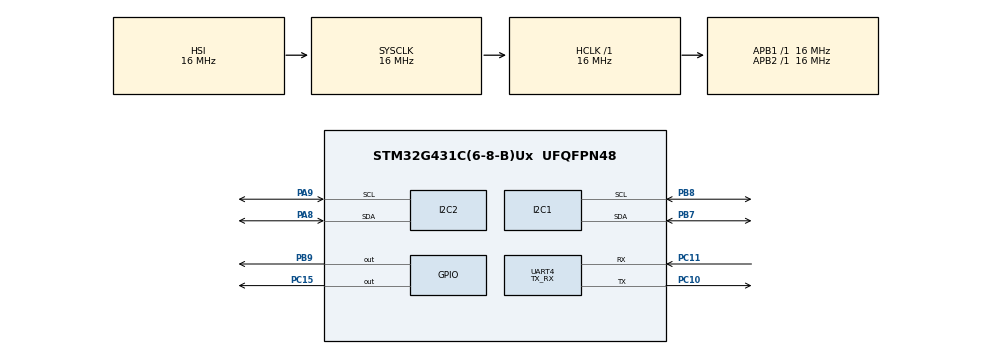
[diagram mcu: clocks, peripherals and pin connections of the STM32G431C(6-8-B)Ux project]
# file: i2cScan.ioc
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I2C1.Timing=0x00503D58
I2C2.Timing=0x00503D58
Mcu.Family=STM32G4
Mcu.Name=STM32G431C(6-8-B)Ux
Mcu.Package=UFQFPN48
NVIC.PriorityGroup=NVIC_PRIORITYGROUP_4
PA8.Mode=I2C
PA8.Signal=I2C2_SDA
PA9.Mode=I2C
PA9.Signal=I2C2_SCL
PB7.Mode=I2C
PB7.Signal=I2C1_SDA
PB8-BOOT0.Mode=I2C
PB8-BOOT0.Signal=I2C1_SCL
PB9.Signal=GPIO_Output
PC10.Mode=Asynchronous
PC10.Signal=UART4_TX
PC11.Mode=Asynchronous
PC11.Signal=UART4_RX
PC15-OSC32_OUT.PinState=GPIO_PIN_SET
PC15-OSC32_OUT.Signal=GPIO_Output
ProjectManager.HeapSize=0x200
ProjectManager.StackSize=0x400
ProjectManager.TargetToolchain=STM32CubeIDE
RCC.AHBFreq_Value=16000000
RCC.APB1Freq_Value=16000000
RCC.APB1TimFreq_Value=16000000
RCC.APB2Freq_Value=16000000
RCC.APB2TimFreq_Value=16000000
RCC.CortexFreq_Value=16000000
RCC.EXTERNAL_CLOCK_VALUE=12288000
RCC.HCLKFreq_Value=16000000
RCC.HSE_VALUE=8000000
RCC.HSI48_VALUE=48000000
RCC.HSI_VALUE=16000000
RCC.LSE_VALUE=32768
RCC.SYSCLKFreq_VALUE=16000000
RCC.USBFreq_Value=64000000
RCC.VCOOutputFreq_Value=128000000
STMicroelectronics.I-CUBE-STDIO.1.5.0.STDIOCcCompilerJjIOoOJjSTDIN=USART
STMicroelectronics.I-CUBE-STDIO.1.5.0.STDIOCcCompilerJjIOoOJjSTDOUT=USART
UART4.Mode=MODE_TX_RX
VP_STMicroelectronics.I-CUBE-STDIO_VS_CompilerJjSTDIO_1.0.0_1.5.0.Mode=CompilerJjSTDIO
VP_SYS_VS_DBSignals.Mode=DisableDeadBatterySignals
board=custom

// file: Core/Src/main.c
/* USER CODE BEGIN Header */
/**
  ******************************************************************************
  * @file           : main.c
  * @brief          : Main program body with SSCMA AI integration
  ******************************************************************************
  * @attention
  *
  * Copyright (c) 2025 STMicroelectronics.
  * All rights reserved.
  *
  * This software is licensed under terms that can be found in the LICENSE file
  * in the root directory of this software component.
  * If no LICENSE file comes with this software, it is provided AS-IS.
  *
  ******************************************************************************
  */
/* USER CODE END Header */
#include "main.h"

/* USER CODE BEGIN Includes */
#include "himax_sdk.h"
/* USER CODE END Includes */

I2C_HandleTypeDef hi2c1;
I2C_HandleTypeDef hi2c2;

UART_HandleTypeDef huart4;

void SystemClock_Config(void);
static void MX_GPIO_Init(void);
static void MX_UART4_Init(void);
static void MX_I2C2_Init(void);
static void MX_I2C1_Init(void);

int main(void)
{

  /* MCU Configuration--------------------------------------------------------*/

  /* Reset of all peripherals, Initializes the Flash interface and the Systick. */
  HAL_Init();

  /* USER CODE BEGIN Init */
  SCB->VTOR = 0x08000000;

  /* USER CODE END Init */

  /* Configure the system clock */
  SystemClock_Config();

  /* Initialize all configured peripherals */
  MX_GPIO_Init();
  MX_UART4_Init();
  MX_I2C2_Init();
  MX_I2C1_Init();
  /* USER CODE BEGIN 2 */

  HAL_Delay(2000); //testing only

  if (initForHimax() == 1)
  {
      HAL_Delay(500);   /* let i2ccomm slave recover from scan probes */
	  if (startRecordingForHimax() == 1) {
		  uart_log("SUCCESS : INIT and StartRecording success");
	  } else {
		  uart_log("FAIL : INIT success but StartRecording failed");
	  }
	  uart_log("testing log");
  }
  HAL_Delay(200);   /* let Himax service the 0x80 frame before we send 0x82 */
  /* E2E test: write a few lines to the Himax SD session.log. */
  logToHimax("STM32", "hello from stm32, tick=%lu", HAL_GetTick());
  HAL_Delay(1000);
  logToHimax("STM32", "second line, counter=%d", 42);
  HAL_Delay(1000);
  logToHimax("STM32", "formatted float: %.2f", 3.14159f);

#define DEBUG_LOGTLM_SMOKE   /* remove for production builds */
#ifdef DEBUG_LOGTLM_SMOKE
  HAL_Delay(500);
  uart_log("--- logTlmToHimax smoke: 8 samples (expect 2 I2C frames) ---");
  for (int i = 0; i < 8; i++) {
      telemetry_t t = {0};
      t.q[0] = 0.1f * (float)i;
      t.q[1] = 0.2f * (float)i;
      t.q[2] = 0.3f * (float)i;
      t.q[3] = 0.4f * (float)i;
      t.temp_c     = 20.0f + (float)i;
      t.vbat       = 11.5f + 0.05f * (float)i;
      t.vmotor[0]  = 3.30f + 0.01f * (float)i;
      t.vmotor[1]  = 3.31f + 0.01f * (float)i;
      t.vmotor[2]  = 3.32f + 0.01f * (float)i;
      t.vmotor[3]  = 3.33f + 0.01f * (float)i;
      t.imotor[0]  = 0.50f + 0.02f * (float)i;
      t.imotor[1]  = 0.51f + 0.02f * (float)i;
      t.imotor[2]  = 0.52f + 0.02f * (float)i;
      t.imotor[3]  = 0.53f + 0.02f * (float)i;
      t.depth      = 1.50f + 0.10f * (float)i;
      logTelemetryToHimax(&t);
      HAL_Delay(100);  /* widened from 20ms — Himax single-mailbox race
                        * (see 2026-04-21-sensor-stream-logging-design.md):
                        * during active recording, JPEG f_write stalls can
                        * exceed the inter-frame gap and coalesce the I2C
                        * RX event so only the later frame is seen. 100ms
                        * per sample ⇒ 400ms between batch flushes, well
                        * clear of any JPEG stall. */
  }
  uart_log("--- logTlmToHimax smoke done ---");
#endif

/* 30 Hz × 60 s production-rate stress test — verifies Himax RX mailbox
 * FIFO + bumped TLM ring (spec 2026-04-27-himax-rx-mailbox-fifo-design.md).
 * Expected: SESSION_XXXX/telemetry.csv has >=1800 rows; Himax UART shows
 * no [I2CCOMM] dropped or [SDLOG_TLM] dropped lines. */
#define DEBUG_LOGTLM_30HZ   /* enable to run; remove for production */
#ifdef DEBUG_LOGTLM_30HZ
  HAL_Delay(500);
  uart_log("--- logTlmToHimax 30Hz x 60s stress (1800 samples) ---");
  for (int i = 0; i < 1800; i++) {
      telemetry_t t = {0};
      t.q[0] = 0.1f * (float)(i % 10);
      t.q[1] = 0.2f * (float)(i % 10);
      t.q[2] = 0.3f * (float)(i % 10);
      t.q[3] = 0.4f * (float)(i % 10);
      t.temp_c     = 20.0f + (float)(i % 10);
      t.vbat       = 11.5f + 0.05f * (float)(i % 10);
      t.vmotor[0]  = 3.30f + 0.01f * (float)(i % 10);
      t.vmotor[1]  = 3.31f + 0.01f * (float)(i % 10);
      t.vmotor[2]  = 3.32f + 0.01f * (float)(i % 10);
      t.vmotor[3]  = 3.33f + 0.01f * (float)(i % 10);
      t.imotor[0]  = 0.50f + 0.02f * (float)(i % 10);
      t.imotor[1]  = 0.51f + 0.02f * (float)(i % 10);
      t.imotor[2]  = 0.52f + 0.02f * (float)(i % 10);
      t.imotor[3]  = 0.53f + 0.02f * (float)(i % 10);
      t.depth      = 1.50f + 0.10f * (float)(i % 10);
      logTelemetryToHimax(&t);
      HAL_Delay(33);  /* 30 Hz call rate -> 7.5 Hz I2C wire rate
                       * (logTelemetryToHimax batches 4 samples/frame) */
  }
  uart_log("--- logTlmToHimax 30Hz stress done ---");
#endif

  /* USER CODE END 2 */

  /* Infinite loop */
  /* USER CODE BEGIN WHILE */
  while (1)
  {
      /* Toggle LED every 2s as a heartbeat */
      HAL_GPIO_TogglePin(GPIOB, GPIO_PIN_9);
      HAL_Delay(2000);
    /* USER CODE END WHILE */

  }
}

void SystemClock_Config(void)
{
  RCC_OscInitTypeDef RCC_OscInitStruct = {0};
  RCC_ClkInitTypeDef RCC_ClkInitStruct = {0};

  /** Configure the main internal regulator output voltage
  */
  HAL_PWREx_ControlVoltageScaling(PWR_REGULATOR_VOLTAGE_SCALE1);

  /** Initializes the RCC Oscillators according to the specified parameters
  * in the RCC_OscInitTypeDef structure.
  */
  RCC_OscInitStruct.OscillatorType = RCC_OSCILLATORTYPE_HSI;
  RCC_OscInitStruct.HSIState = RCC_HSI_ON;
  RCC_OscInitStruct.HSICalibrationValue = RCC_HSICALIBRATION_DEFAULT;
  RCC_OscInitStruct.PLL.PLLState = RCC_PLL_NONE;
  if (HAL_RCC_OscConfig(&RCC_OscInitStruct) != HAL_OK)
  {
    Error_Handler();
  }

  /** Initializes the CPU, AHB and APB buses clocks
  */
  RCC_ClkInitStruct.ClockType = RCC_CLOCKTYPE_HCLK|RCC_CLOCKTYPE_SYSCLK
                              |RCC_CLOCKTYPE_PCLK1|RCC_CLOCKTYPE_PCLK2;
  RCC_ClkInitStruct.SYSCLKSource = RCC_SYSCLKSOURCE_HSI;
  RCC_ClkInitStruct.AHBCLKDivider = RCC_SYSCLK_DIV1;
  RCC_ClkInitStruct.APB1CLKDivider = RCC_HCLK_DIV1;
  RCC_ClkInitStruct.APB2CLKDivider = RCC_HCLK_DIV1;

  if (HAL_RCC_ClockConfig(&RCC_ClkInitStruct, FLASH_LATENCY_0) != HAL_OK)
  {
    Error_Handler();
  }
}

static void MX_I2C1_Init(void)
{

  hi2c1.Instance = I2C1;
  hi2c1.Init.Timing = 0x00503D58;
  hi2c1.Init.OwnAddress1 = 0;
  hi2c1.Init.AddressingMode = I2C_ADDRESSINGMODE_7BIT;
  hi2c1.Init.DualAddressMode = I2C_DUALADDRESS_DISABLE;
  hi2c1.Init.OwnAddress2 = 0;
  hi2c1.Init.OwnAddress2Masks = I2C_OA2_NOMASK;
  hi2c1.Init.GeneralCallMode = I2C_GENERALCALL_DISABLE;
  hi2c1.Init.NoStretchMode = I2C_NOSTRETCH_DISABLE;
  if (HAL_I2C_Init(&hi2c1) != HAL_OK)
  {
    Error_Handler();
  }

  /** Configure Analogue filter
  */
  if (HAL_I2CEx_ConfigAnalogFilter(&hi2c1, I2C_ANALOGFILTER_ENABLE) != HAL_OK)
  {
    Error_Handler();
  }

  /** Configure Digital filter
  */
  if (HAL_I2CEx_ConfigDigitalFilter(&hi2c1, 0) != HAL_OK)
  {
    Error_Handler();
  }

}

static void MX_I2C2_Init(void)
{

  hi2c2.Instance = I2C2;
  hi2c2.Init.Timing = 0x00503D58;
  hi2c2.Init.OwnAddress1 = 0;
  hi2c2.Init.AddressingMode = I2C_ADDRESSINGMODE_7BIT;
  hi2c2.Init.DualAddressMode = I2C_DUALADDRESS_DISABLE;
  hi2c2.Init.OwnAddress2 = 0;
  hi2c2.Init.OwnAddress2Masks = I2C_OA2_NOMASK;
  hi2c2.Init.GeneralCallMode = I2C_GENERALCALL_DISABLE;
  hi2c2.Init.NoStretchMode = I2C_NOSTRETCH_DISABLE;
  if (HAL_I2C_Init(&hi2c2) != HAL_OK)
  {
    Error_Handler();
  }

  /** Configure Analogue filter
  */
  if (HAL_I2CEx_ConfigAnalogFilter(&hi2c2, I2C_ANALOGFILTER_ENABLE) != HAL_OK)
  {
    Error_Handler();
  }

  /** Configure Digital filter
  */
  if (HAL_I2CEx_ConfigDigitalFilter(&hi2c2, 0) != HAL_OK)
  {
    Error_Handler();
  }

}

static void MX_UART4_Init(void)
{

  huart4.Instance = UART4;
  huart4.Init.BaudRate = 115200;
  huart4.Init.WordLength = UART_WORDLENGTH_8B;
  huart4.Init.StopBits = UART_STOPBITS_1;
  huart4.Init.Parity = UART_PARITY_NONE;
  huart4.Init.Mode = UART_MODE_TX;
  huart4.Init.HwFlowCtl = UART_HWCONTROL_NONE;
  huart4.Init.OverSampling = UART_OVERSAMPLING_16;
  huart4.Init.OneBitSampling = UART_ONE_BIT_SAMPLE_DISABLE;
  huart4.Init.ClockPrescaler = UART_PRESCALER_DIV1;
  huart4.AdvancedInit.AdvFeatureInit = UART_ADVFEATURE_NO_INIT;
  if (HAL_UART_Init(&huart4) != HAL_OK)
  {
    Error_Handler();
  }
  if (HAL_UARTEx_SetTxFifoThreshold(&huart4, UART_TXFIFO_THRESHOLD_1_8) != HAL_OK)
  {
    Error_Handler();
  }
  if (HAL_UARTEx_SetRxFifoThreshold(&huart4, UART_RXFIFO_THRESHOLD_1_8) != HAL_OK)
  {
    Error_Handler();
  }
  if (HAL_UARTEx_DisableFifoMode(&huart4) != HAL_OK)
  {
    Error_Handler();
  }

}

static void MX_GPIO_Init(void)
{
  GPIO_InitTypeDef GPIO_InitStruct = {0};

  /* GPIO Ports Clock Enable */
  __HAL_RCC_GPIOC_CLK_ENABLE();
  __HAL_RCC_GPIOA_CLK_ENABLE();
  __HAL_RCC_GPIOB_CLK_ENABLE();

  /*Configure GPIO pin Output Level */
  HAL_GPIO_WritePin(GPIOC, GPIO_PIN_15, GPIO_PIN_SET);

  /*Configure GPIO pin Output Level */
  HAL_GPIO_WritePin(GPIOB, GPIO_PIN_9, GPIO_PIN_RESET);

  /*Configure GPIO pin : PC15 */
  GPIO_InitStruct.Pin = GPIO_PIN_15;
  GPIO_InitStruct.Mode = GPIO_MODE_OUTPUT_PP;
  GPIO_InitStruct.Pull = GPIO_NOPULL;
  GPIO_InitStruct.Speed = GPIO_SPEED_FREQ_LOW;
  HAL_GPIO_Init(GPIOC, &GPIO_InitStruct);

  /*Configure GPIO pin : PB9 */
  GPIO_InitStruct.Pin = GPIO_PIN_9;
  GPIO_InitStruct.Mode = GPIO_MODE_OUTPUT_PP;
  GPIO_InitStruct.Pull = GPIO_NOPULL;
  GPIO_InitStruct.Speed = GPIO_SPEED_FREQ_LOW;
  HAL_GPIO_Init(GPIOB, &GPIO_InitStruct);

}

void Error_Handler(void)
{
  __disable_irq();
  while (1)
  {
  }
}
